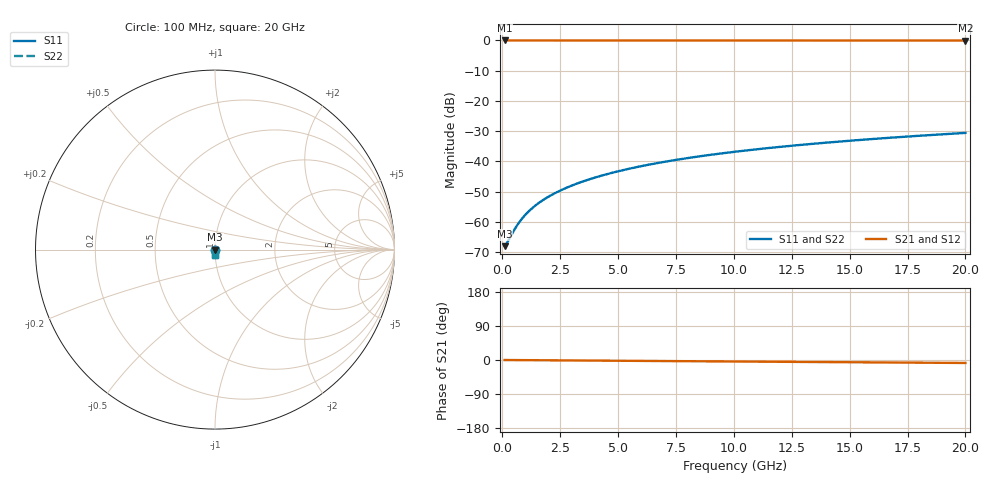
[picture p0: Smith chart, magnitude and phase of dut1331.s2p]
! Touchstone file exported from HFSS 2026.1.0
!  File:  C:/ffzhzh/LocalFiles/Ansys_Project_Files/temp_train_TSV_1331_1783195358_22436.aedt
!  Generated:  04:04:07 AM Jul  5, 2026
!  Design:  TSV
!  Project:  temp_train_TSV_1331_1783195358_22436
! Variables:
!  h_bsmrdl = 2um
!  h_ox = 20um
!  h_rdl = 5um
!  h_sub = 83.43um
!  h_tmrdl = 5um
!  h_tsv = 83.43um
!  h_via = 3um
!  l_bsmrdl = 300um
!  l_sub = 410.56um
!  l_tmrdl = 200um
!  m_sub = 200um
!  pitch = 17.45um
!  r_tsv = 5.28um
!  s_tmrdl = 10um
!  w_bsmrdl = 18um
!  w_sub = 500um
!  w_tmrdl = 12um
!  x_tsv_center1 = 206um
!  x_tsv_center2 = 524um
!  x_tsv_center3 = 736um
!  x_tsv_center4 = 1054um
!  x_tsv_center5 = 1266um
!  x_tsv_center6 = 1584um
# GHz S MA R 50.000000
! Terminal data exported
! Port[1] = TSV1_1_T1
! Port[2] = TSV1_1_T2
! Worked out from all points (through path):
!   200 points, 100 MHz to 20 GHz, reference 50 ohm
!   highest |S21| = 0.00 dB at 100 MHz (marker M1); lowest = 0.0 dB at 20 GHz (marker M2)
!   group delay of S21, straight-line fit = 1.08 ps
!   lowest |S11| = -68.1 dB at 100 MHz (marker M3), VSWR 1.00, Z = 50 - j0.00794 ohm
!   |S11| at or under -10 dB: start of sweep to end of sweep
!   |S22| runs from -68.1 to -30.6 dB; largest |S21 - S12| = 3.2e-15
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0.1  0.0003946 -11.6  0.9996 -0.0  0.9996 -0.0  0.0003946 -11.6
! Gamma 0 0 0 0
! Port Impedance 50 0 50 0
0.2  0.0004438 -22.2  0.9996 -0.1  0.9996 -0.1  0.0004438 -22.2
0.5  0.0007143 -45.0  0.9995 -0.2  0.9995 -0.2  0.0007143 -45.0
0.6  0.000826 -50.0  0.9995 -0.2  0.9995 -0.2  0.000826 -50.0
0.8  0.001063 -57.4  0.9994 -0.3  0.9994 -0.3  0.001063 -57.4
0.9  0.001185 -60.2  0.9994 -0.4  0.9994 -0.4  0.001185 -60.2
1.1  0.001436 -64.5  0.9994 -0.4  0.9994 -0.4  0.001436 -64.5
1.4  0.001819 -68.9  0.9993 -0.6  0.9993 -0.6  0.001819 -68.9
1.8  0.002341 -72.6  0.9993 -0.7  0.9993 -0.7  0.002341 -72.6
2.3  0.003009 -75.4  0.9992 -0.9  0.9992 -0.9  0.003009 -75.4
2.9  0.00383 -77.6  0.9991 -1.2  0.9991 -1.2  0.00383 -77.6
3.5  0.004671 -79.1  0.999 -1.4  0.999 -1.4  0.004671 -79.1
4.2  0.005672 -80.5  0.9989 -1.7  0.9989 -1.7  0.005672 -80.5
5  0.006838 -81.7  0.9988 -2.0  0.9988 -2.0  0.006838 -81.7
5.9  0.008168 -82.9  0.9986 -2.3  0.9986 -2.3  0.008168 -82.9
6.8  0.009511 -83.9  0.9985 -2.7  0.9985 -2.7  0.009512 -83.9
8.3  0.01177 -85.4  0.9983 -3.3  0.9983 -3.3  0.01177 -85.4
10.1  0.01448 -87.0  0.9981 -4.0  0.9981 -4.0  0.01448 -87.0
11.7  0.0169 -88.2  0.998 -4.6  0.998 -4.6  0.0169 -88.2
13.4  0.01948 -89.3  0.9978 -5.3  0.9978 -5.3  0.01948 -89.3
16.7  0.02449 -91.2  0.9974 -6.5  0.9974 -6.5  0.02449 -91.2
20  0.02954 -92.9  0.997 -7.8  0.997 -7.8  0.02954 -92.9
